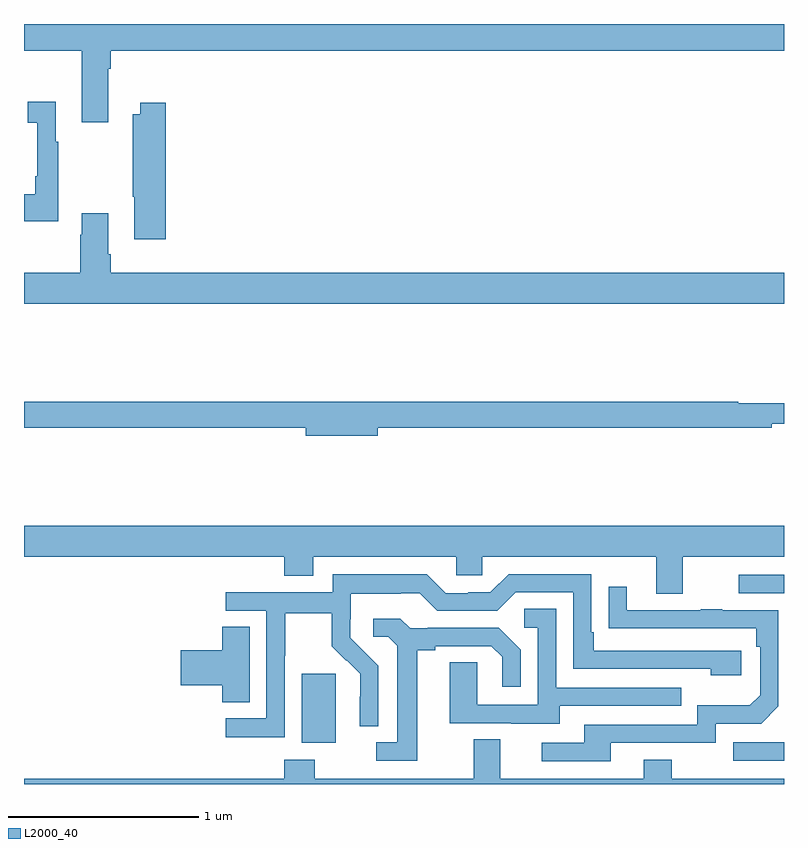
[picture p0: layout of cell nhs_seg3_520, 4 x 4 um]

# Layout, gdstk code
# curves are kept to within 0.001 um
import gdstk
lib = gdstk.Library(unit=1e-6, precision=1e-09)
def R(c, l, rs):  # rectangles x0, y0, x1, y1
    for r in rs: c.add(gdstk.rectangle(r[:2], r[2:], *l))
def P(c, l, *ps):  # polygons
    for p in ps: c.add(gdstk.Polygon(p, *l))
L2000_40 = (2000, 40)

nhs_seg3_520 = lib.new_cell('nhs_seg3_520')
R(nhs_seg3_520, L2000_40, [(140.733,686.523,141,686.619), (138.461,686.618,138.64,686.979), (140.763,687.405,141,687.501)])
P(nhs_seg3_520, L2000_40, [(137.443,690.164),(137.456,690.164),(137.456,690.26),(141,690.26),(141,690.4),(137,690.4),(137,690.26),(137.303,690.26),(137.303,689.883),(137.443,689.883)],
  [(137.179,689.779),(137.167,689.779),(137.167,689.992),(137.019,689.992),(137.019,689.879),(137.07,689.879),(137.07,689.599),(137.058,689.599),(137.058,689.503),(137,689.503),(137,689.363),(137.179,689.363)],
  [(137.747,689.986),(137.612,689.986),(137.612,689.926),(137.572,689.926),(137.572,689.491),(137.579,689.491),(137.579,689.268),(137.747,689.268)],
  [(141,689.092),(137.456,689.092),(137.456,689.188),(137.443,689.188),(137.443,689.404),(137.303,689.404),(137.303,689.291),(137.296,689.291),(137.296,689.092),(137,689.092),(137,688.928),(141,688.928)],
  [(138.862,688.276),(140.936,688.276),(140.936,688.295),(141,688.295),(141,688.405),(140.758,688.405),(140.758,688.412),(137,688.412),(137,688.276),(138.482,688.276),(138.482,688.234),(138.862,688.234)],
  [(140.467,687.596),(141,687.596),(141,687.76),(137,687.76),(137,687.596),(138.371,687.596),(138.371,687.497),(138.523,687.497),(138.523,687.596),(139.275,687.596),(139.275,687.498),(139.413,687.498),(139.413,687.596),(140.327,687.596),(140.327,687.402),(140.467,687.402)],
  [(138.372,687.076),(138.375,687.076),(138.375,687.3),(138.619,687.3),(138.619,687.125),(138.696,687.048),(138.699,687.051),(138.77,686.981),(138.77,686.858),(138.768,686.858),(138.768,686.704),(138.864,686.704),(138.864,687.022),(138.718,687.17),(138.718,687.267),(138.72,687.267),(138.72,687.401),(138.983,687.401),(138.983,687.405),(139.083,687.405),(139.176,687.312),(139.491,687.312),(139.587,687.408),(139.89,687.408),(139.89,687.006),(140.615,687.006),(140.615,686.972),(140.776,686.972),(140.776,687.102),(139.999,687.102),(139.999,687.199),(139.986,687.199),(139.986,687.504),(139.551,687.504),(139.455,687.408),(139.337,687.408),(139.337,687.405),(139.221,687.405),(139.121,687.505),(138.624,687.505),(138.624,687.408),(138.063,687.408),(138.063,687.312),(138.276,687.312),(138.276,686.745),(138.063,686.745),(138.063,686.647),(138.372,686.647)],
  [(140.089,686.616),(140.64,686.616),(140.64,686.718),(140.88,686.718),(140.97,686.808),(140.97,687.315),(140.675,687.315),(140.675,687.32),(140.563,687.32),(140.563,687.315),(140.173,687.315),(140.173,687.439),(140.077,687.439),(140.077,687.22),(140.854,687.219),(140.854,687.122),(140.874,687.122),(140.874,686.868),(140.821,686.815),(140.544,686.815),(140.544,686.712),(139.949,686.712),(139.949,686.616),(139.725,686.616),(139.725,686.52),(140.089,686.52)],
  [(139.819,686.811),(140.459,686.811),(140.459,686.907),(139.8,686.907),(139.8,687.323),(139.632,687.323),(139.632,687.222),(139.704,687.222),(139.704,686.817),(139.386,686.817),(139.386,687.041),(139.241,687.041),(139.241,686.721),(139.565,686.721),(139.565,686.717),(139.819,686.717)],
  [(139.069,687.104),(139.165,687.104),(139.165,687.126),(139.46,687.126),(139.517,687.069),(139.517,686.913),(139.614,686.913),(139.614,687.106),(139.498,687.222),(139.126,687.222),(139.126,687.219),(139.032,687.219),(138.98,687.271),(138.837,687.271),(138.837,687.174),(138.918,687.174),(138.965,687.127),(138.965,686.619),(138.855,686.619),(138.855,686.523),(139.069,686.523)],
  [(138.187,687.227),(138.044,687.227),(138.044,687.104),(137.826,687.104),(137.826,686.921),(138.044,686.921),(138.044,686.83),(138.187,686.83)],
  [(137,686.4),(141,686.4),(141,686.428),(140.409,686.428),(140.409,686.527),(140.261,686.527),(140.261,686.428),(139.507,686.428),(139.507,686.636),(139.367,686.636),(139.367,686.428),(138.531,686.428),(138.531,686.527),(138.371,686.527),(138.371,686.428),(137,686.428)])

lib.write_gds('nhs_seg3_520.gds')
